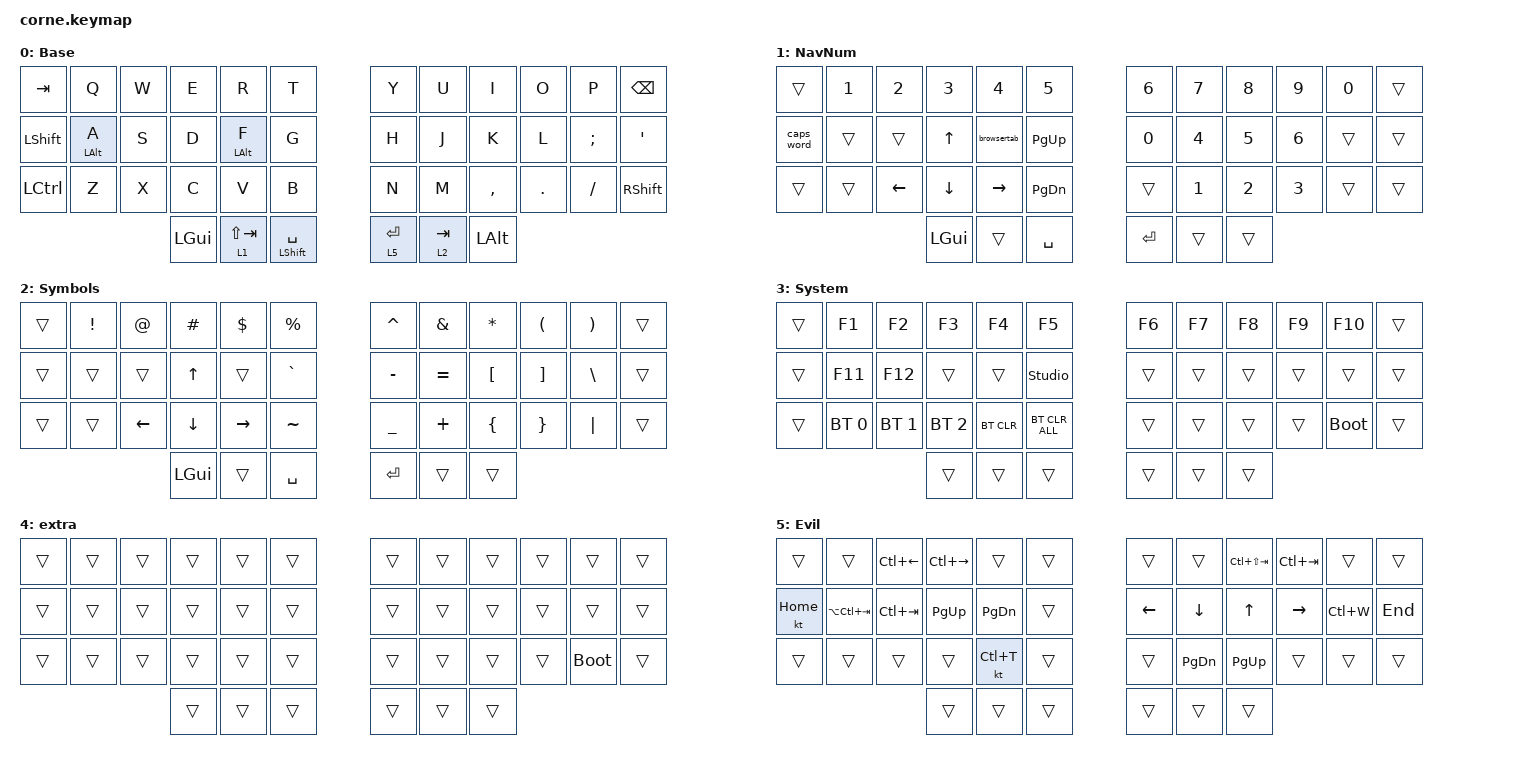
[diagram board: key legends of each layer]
#include <behaviors.dtsi>
#include <dt-bindings/zmk/bt.h>
#include <dt-bindings/zmk/keys.h>

#define DEF 0
#define NAV 1
#define SYM 2
#define ADJ 3
#define EXTRA 4

/ {
    behaviors {
        alt_morph_j: alt_morph_j {
            compatible = "zmk,behavior-mod-morph";
            #binding-cells = <0>;
            bindings = <&kp J>, <&kp TAB>;

            mods = <MOD_LALT>;
        };

        alt_morph_k: alt_morph_k {
            compatible = "zmk,behavior-mod-morph";
            #binding-cells = <0>;
            bindings = <&kp K>, <&kp LSHIFT TAB>;

            mods = <MOD_LALT>;
        };

        hm: homerow_mods {
            compatible = "zmk,behavior-hold-tap";
            label = "HOMEROW_MODS";
            #binding-cells = <2>;
            tapping-term-ms = <200>;
            quick_tap_ms = <0>;
            flavor = "tap-preferred";
            bindings = <&kp>, <&kp>;

            quick-tap-ms = <180>;
            global-quick-tap;
        };

        para: para {
            compatible = "zmk,behavior-tap-dance";
            label = "PARA";
            #binding-cells = <0>;
            bindings = <&kp LEFT_PARENTHESIS>, <&kp RIGHT_PARENTHESIS>;
        };

        caps: caps {
            compatible = "zmk,behavior-caps-word";
            label = "CAPS";
            #binding-cells = <0>;
            continue-list = <MINUS BACKSPACE>;
        };

        paraless: paraless {
            compatible = "zmk,behavior-mod-morph";
            label = "PARALESS";
            bindings = <&kp LEFT_PARENTHESIS>, <&kp LESS_THAN>;

            #binding-cells = <0>;
            mods = <(MOD_LSFT)>;
        };

        paragreat: paragreat {
            compatible = "zmk,behavior-mod-morph";
            label = "PARAGREAT";
            bindings = <&kp RIGHT_PARENTHESIS>, <&kp GREATER_THAN>;

            #binding-cells = <0>;
            mods = <(MOD_LSFT)>;
        };
    };

    macros {
        browsertab: browsertab {
            compatible = "zmk,behavior-macro";
            #binding-cells = <0>;
            bindings =
                <&macro_press>,
                <&kp LCTRL>,
                <&macro_tap>,
                <&kp TAB>,
                <&macro_release>,
                <&kp LCTRL>;
        };
    };

    combos {
        compatible = "zmk,combos";

        delete {
            bindings = <&kp DELETE>;
            key-positions = <15 21>;
        };

        perc {
            bindings = <&kp PERCENT>;
            key-positions = <5 17>;
        };

        equal {
            bindings = <&kp EQUAL>;
            key-positions = <28 16>;
        };

        dollar {
            bindings = <&kp DOLLAR>;
            key-positions = <4 16>;
        };

        pound {
            bindings = <&kp POUND>;
            key-positions = <3 15>;
        };

        at {
            bindings = <&kp AT>;
            key-positions = <2 14>;
        };

        backslash {
            bindings = <&kp BACKSLASH>;
            key-positions = <26 14>;
        };

        copy {
            bindings = <&kp K_COPY>;
            key-positions = <28 27>;
        };

        paste {
            bindings = <&kp K_PASTE>;
            key-positions = <26 27>;
        };

        star {
            bindings = <&kp STAR>;
            key-positions = <8 20>;
        };

        slash {
            bindings = <&kp SLASH>;
            key-positions = <32 20>;
        };

        plus {
            bindings = <&kp PLUS>;
            key-positions = <7 19>;
        };

        minus {
            bindings = <&kp KP_MINUS>;
            key-positions = <31 19>;
        };

        underscore {
            bindings = <&kp UNDER>;
            key-positions = <30 18>;
        };

        leftbrack {
            bindings = <&kp LEFT_BRACKET>;
            key-positions = <31 32>;
        };

        rightbrack {
            bindings = <&kp RIGHT_BRACKET>;
            key-positions = <33 32>;
        };

        para-less {
            bindings = <&paraless>;
            key-positions = <20 19>;
        };

        para-great {
            bindings = <&paragreat>;
            key-positions = <20 21>;
        };

        escape {
            bindings = <&kp ESCAPE>;
            key-positions = <15 20>;
        };
    };

    //

    keymap {
        compatible = "zmk,keymap";

        DEF {
            display-name = "Base";

            // -----------------------------------------------------------------------------------------
            // |  Q  |  W  |  E  |  R  |  T  |   |  Y  |  U   |  I  |  O  |  P  |
            // |  A  |  S  |  D  |  F  |  G  |   |  H  |  J   |  K  |  L  |  ;  |
            // |  Z  |  X  |  C  |  V  |  B  |   |  N  |  M   |  ,  |  .  |  /  |
            // | GUI | CTRL | SHFT | LWR | SPC |   | ENT | RSE  | BKSP | ALT | ESC |

            bindings = <
&kp TAB    &kp Q       &kp W  &kp E     &kp R          &kp T               &kp Y        &kp U      &kp I         &kp O    &kp P     &kp BACKSPACE
&kp LSHFT  &mt LALT A  &kp S  &kp D     &mt LALT F     &kp G               &kp H        &kp J      &kp K         &kp L    &kp SEMI  &kp SQT
&kp LCTRL  &kp Z       &kp X  &kp C     &kp V          &kp B               &kp N        &kp M      &kp COMMA     &kp DOT  &kp FSLH  &kp RSHFT
                              &kp LGUI  &lt 1 LS(TAB)  &mt LSHIFT SPACE    &lt 5 ENTER  &lt 2 TAB  &kp LEFT_ALT
            >;
        };

        NAV {
            display-name = "NavNum";

            // -----------------------------------------------------------------------------------------
            // |  TAB |  1  |  2  |  3  |  4  |  5  |   |  6  |  7  |  8  |  9  |  0  | BKSP |
            // | BTCLR| BT1 | BT2 | BT3 | BT4 | BT5 |   | LFT | DWN |  UP | RGT |     |      |
            // | SHFT |     |     |     |     |     |   |     |     |     |     |     |      |
            // | GUI | CTRL | SHFT | LWR | SPC |   | ENT | RSE  | BKSP | ALT | ESC |

            bindings = <
&trans      &kp N1  &kp N2    &kp N3        &kp N4           &kp N5           &kp N6   &kp N7  &kp N8  &kp N9  &kp N0  &trans
&caps_word  &trans  &trans    &kp UP_ARROW  &browsertab      &kp PAGE_UP      &kp N0   &kp N4  &kp N5  &kp N6  &trans  &trans
&trans      &trans  &kp LEFT  &kp DOWN      &kp RIGHT_ARROW  &kp PAGE_DOWN    &trans   &kp N1  &kp N2  &kp N3  &trans  &trans
                              &kp LGUI      &trans           &kp SPACE        &kp RET  &trans  &trans
            >;
        };

        SYM {
            display-name = "Symbols";

            // -----------------------------------------------------------------------------------------
            // |  TAB |  !  |  @  |  #  |  $  |  %  |   |  ^  |  &  |  *  |  (  |  )  | BKSP |
            // | CTRL |     |     |     |     |     |   |  -  |  =  |  [  |  ]  |  \  |  `   |
            // | SHFT |     |     |     |     |     |   |  _  |  +  |  {  |  }  | "|" |  ~   |
            //                    | GUI |     | SPC |   | ENT |     | ALT |

            bindings = <
&trans  &kp EXCL  &kp AT          &kp HASH        &kp DLLR         &kp PRCNT    &kp CARET  &kp AMPS   &kp ASTRK  &kp LEFT_PARENTHESIS  &kp RPAR  &trans
&trans  &trans    &trans          &kp UP_ARROW    &trans           &kp GRAVE    &kp MINUS  &kp EQUAL  &kp LBKT   &kp RBKT              &kp BSLH  &trans
&trans  &trans    &kp LEFT_ARROW  &kp DOWN_ARROW  &kp RIGHT_ARROW  &kp TILDE    &kp UNDER  &kp PLUS   &kp LBRC   &kp RBRC              &kp PIPE  &trans
                                  &kp LGUI        &trans           &kp SPACE    &kp RET    &trans     &trans
            >;
        };

        ADJ {
            display-name = "System";
            bindings = <
&trans  &kp F1        &kp F2        &kp F3        &kp F4      &kp F5            &kp F6  &kp F7  &kp F8  &kp F9  &kp F10      &trans
&trans  &kp F11       &kp F12       &trans        &trans      &studio_unlock    &trans  &trans  &trans  &trans  &trans       &trans
&trans  &bt BT_SEL 0  &bt BT_SEL 1  &bt BT_SEL 2  &bt BT_CLR  &bt BT_CLR_ALL    &trans  &trans  &trans  &trans  &bootloader  &trans
                                    &trans        &trans      &trans            &trans  &trans  &trans
            >;
        };

        EXTRA {
            display-name = "extra";
            bindings = <
&trans  &trans  &trans  &trans  &trans  &trans    &trans  &trans  &trans  &trans  &trans       &trans
&trans  &trans  &trans  &trans  &trans  &trans    &trans  &trans  &trans  &trans  &trans       &trans
&trans  &trans  &trans  &trans  &trans  &trans    &trans  &trans  &trans  &trans  &bootloader  &trans
                        &trans  &trans  &trans    &trans  &trans  &trans
            >;
        };

        EVL {
            bindings = <
&trans    &trans           &kp LC(LEFT)  &kp LC(RIGHT)  &trans         &trans    &trans    &trans         &kp LC(LS(TAB))  &kp LC(TAB)  &trans     &trans
&kt HOME  &kp LA(LC(TAB))  &kp LC(TAB)   &kp PAGE_UP    &kp PAGE_DOWN  &trans    &kp LEFT  &kp DOWN       &kp UP_ARROW     &kp RIGHT    &kp LC(W)  &kp END
&trans    &trans           &trans        &trans         &kt LC(T)      &trans    &trans    &kp PAGE_DOWN  &kp PAGE_UP      &trans       &trans     &trans
                                         &trans         &trans         &trans    &trans    &trans         &trans
            >;

            label = "Evil";
        };
    };

    conditional_layers {
        compatible = "zmk,conditional-layers";

        l3 {
            if-layers = <1 2>;
            then-layer = <3>;
        };
    };
};
